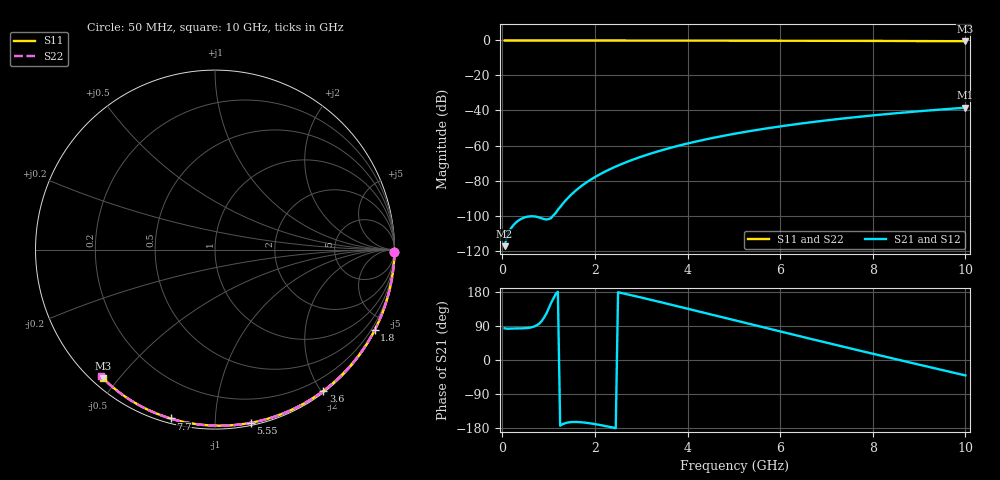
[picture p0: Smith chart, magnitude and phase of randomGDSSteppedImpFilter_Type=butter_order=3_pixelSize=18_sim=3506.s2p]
! freq	dB(S11)	phase(S11)	dB(S12)	phase(S12)
!  dB(S21)	phase(S21)	dB(S22)	phase(S22)
!S-par simulation data
#  GHz  S  DB  R 50
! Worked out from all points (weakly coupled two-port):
!   200 points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, 50 MHz to 10 GHz, reference 50 ohm
!   highest |S21| = -38.41 dB at 10 GHz (marker M1); lowest = -117.5 dB at 50 MHz (marker M2)
!   lowest |S11| = -0.4 dB at 10 GHz (marker M3), VSWR 39.21, Z = 1.54 - j22.8 ohm
!   |S11| at or under -10 dB: nowhere
!   |S22| runs from -0.4 to 0.0 dB; largest |S21 - S12| = 0
!   S11 on the Smith chart (normalised r, x): 50 MHz: open; 1.8 GHz: 0.04, -4.19; 3.6 GHz: 0.02, -2.03; 5.55 GHz: 0.02, -1.23; 7.7 GHz: 0.02, -0.77; 10 GHz: 0.03, -0.46
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0.05  -0.00 -0.8  -117.50 83.7  -117.50 83.7  -0.00 -0.8
0.9  -0.02 -13.5  -102.01 111.7  -102.01 111.7  -0.02 -13.7
1.75  -0.03 -26.1  -82.33 -164.8  -82.33 -164.8  -0.03 -26.4
1.8  -0.03 -26.8  -81.39 -165.5  -81.39 -165.5  -0.03 -27.1
1.85  -0.04 -27.6  -80.50 -166.3  -80.50 -166.3  -0.04 -27.8
1.9  -0.04 -28.3  -79.65 -167.1  -79.65 -167.1  -0.04 -28.6
2.05  -0.04 -30.5  -77.28 -170.2  -77.28 -170.2  -0.04 -30.8
2.25  -0.04 -33.4  -74.48 -174.8  -74.48 -174.8  -0.04 -33.7
2.45  -0.05 -36.3  -72.00 -179.9  -72.00 -179.9  -0.05 -36.6
2.65  -0.05 -39.1  -69.79 174.7  -69.79 174.7  -0.05 -39.5
3  -0.06 -44.1  -66.38 164.9  -66.38 164.9  -0.06 -44.5
3.4  -0.07 -49.7  -63.04 153.2  -63.04 153.2  -0.07 -50.2
3.6  -0.07 -52.5  -61.55 147.3  -61.55 147.3  -0.07 -53.0
4.3  -0.09 -62.0  -57.04 126.4  -57.04 126.4  -0.09 -62.6
5.05  -0.11 -72.0  -53.12 103.8  -53.12 103.8  -0.11 -72.6
5.55  -0.13 -78.4  -50.88 88.8  -50.88 88.8  -0.13 -79.1
6.1  -0.15 -85.3  -48.71 72.4  -48.71 72.4  -0.15 -86.1
6.7  -0.18 -92.7  -46.60 54.6  -46.60 54.6  -0.18 -93.5
7.7  -0.24 -104.7  -43.61 25.2  -43.61 25.2  -0.24 -105.6
8.35  -0.29 -112.3  -41.93 6.4  -41.93 6.4  -0.29 -113.2
9.15  -0.36 -121.4  -40.11 -16.5  -40.11 -16.5  -0.36 -122.4
10  -0.44 -131.0  -38.41 -40.7  -38.41 -40.7  -0.45 -132.1
